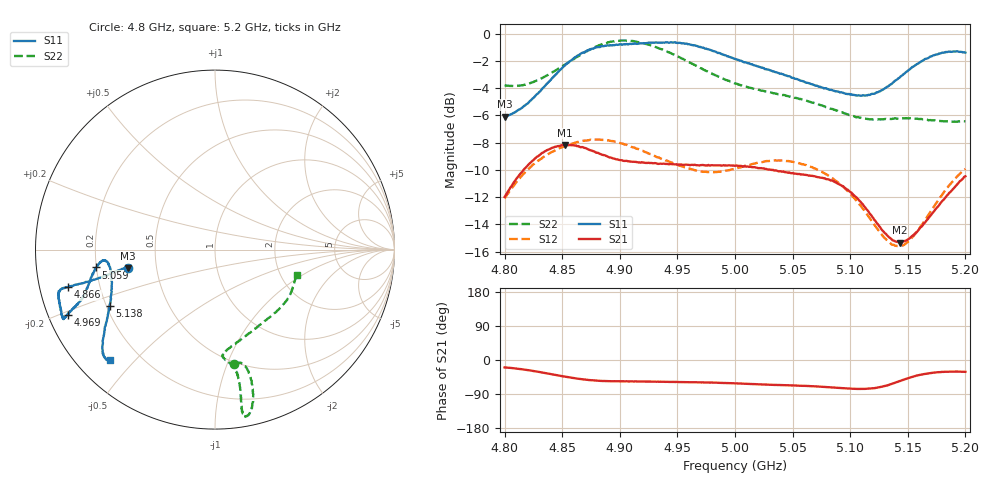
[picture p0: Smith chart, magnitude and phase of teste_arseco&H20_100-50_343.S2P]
! Network Analyzer HP8722D
! Hewlett-Packard
! Data name: Linha & Wilkinson
! Saver's name: Rodrigo Anjos
! Comments: Teste da utilização de aquisição
! continua pelo VNA HP8722D
! Time and date: 6/5/2025 15:25
!  Frequency  S11  S21  S12  S22
# HZ  S  MA R 50
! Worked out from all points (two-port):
!   401 points, 4.8 GHz to 5.2 GHz, reference 50 ohm
!   highest |S21| = -8.17 dB at 4.852 GHz (marker M1); lowest = -15.3 dB at 5.143 GHz (marker M2)
!   |S21| within 3 dB of the highest: 4.806 GHz to 5.093 GHz (286.7 MHz wide, 5.79 % of centre); 5.191742 GHz to end of sweep
!   lowest |S11| = -6.1 dB at 4.8 GHz (marker M3), VSWR 2.97, Z = 17 - j4.6 ohm
!   |S11| at or under -10 dB: nowhere
!   |S22| runs from -6.5 to -0.5 dB; largest |S21 - S12| = 0.62
!   S11 on the Smith chart (normalised r, x): 4.8 GHz: 0.34, -0.09; 4.866 GHz: 0.09, -0.12; 4.969 GHz: 0.06, -0.21; 5.059 GHz: 0.20, -0.07; 5.138 GHz: 0.21, -0.24; 5.2 GHz: 0.09, -0.43
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4.8e9  0.4966 -168.1  0.2514 -19.6  0.2486 -140.7  0.6476 -80.4
4.823e9  0.5698 -167.5  0.3377 -27.9  0.3249 -143.7  0.6609 -75.9
4.852e9  0.7625 -165.8  0.3903 -43.6  0.3869 -149.3  0.7684 -74.6
4.866e9  0.8445 -165.7  0.3829 -50.3  0.4021 -151.8  0.8377 -75.3
4.867e9  0.8496 -165.7  0.3835 -50.6  0.4032 -151.9  0.8427 -75.4
4.88e9  0.8913 -165.4  0.3655 -54.5  0.4087 -154.0  0.8994 -76.7
4.9e9  0.9148 -162.6  0.3435 -56.3  0.3968 -156.4  0.9424 -79.2
4.934e9  0.9279 -156.3  0.3327 -57.4  0.3512 -155.6  0.8837 -80.4
4.969e9  0.8944 -156.1  0.3282 -58.9  0.3131 -147.3  0.7523 -79.7
5e9  0.8079 -158.9  0.3273 -61.8  0.3196 -137.1  0.6566 -81.3
5.036e9  0.7221 -165.5  0.3143 -65.9  0.342 -134.3  0.6021 -85.6
5.059e9  0.6697 -171.5  0.304 -68.1  0.3319 -135.9  0.572 -84.5
5.067e9  0.652 -173.0  0.3008 -69.2  0.3237 -136.7  0.5584 -82.6
5.082e9  0.6219 -174.5  0.2909 -71.9  0.2993 -138.2  0.5326 -77.1
5.1e9  0.5975 -172.4  0.2623 -75.4  0.2583 -138.7  0.503 -67.2
5.116e9  0.5969 -165.4  0.2218 -75.8  0.2129 -135.4  0.4857 -55.9
5.134e9  0.6462 -154.2  0.1784 -65.3  0.1712 -120.9  0.4868 -43.3
5.138e9  0.6671 -151.8  0.1737 -61.1  0.1675 -115.6  0.4882 -40.8
5.143e9  0.6906 -149.3  0.171 -56.0  0.1658 -109.0  0.4886 -38.0
5.154e9  0.7556 -144.5  0.1809 -44.4  0.1793 -95.1  0.4879 -32.3
5.172e9  0.8325 -138.9  0.2208 -33.5  0.2296 -81.0  0.481 -24.6
5.2e9  0.8523 -133.6  0.2995 -31.2  0.319 -76.7  0.477 -17.6
